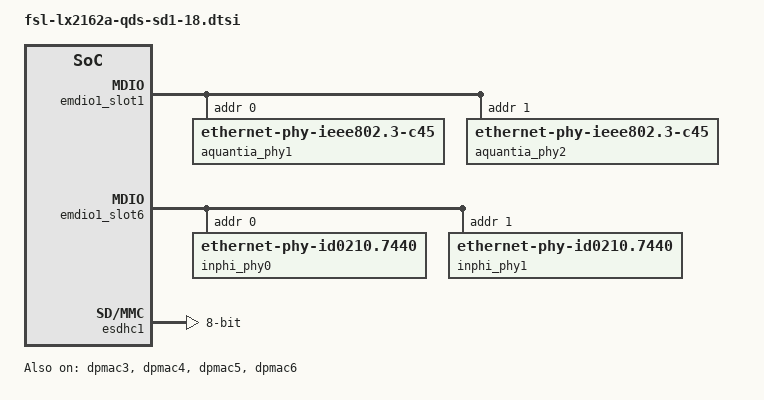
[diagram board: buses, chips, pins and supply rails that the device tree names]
// SPDX-License-Identifier: GPL-2.0+ OR X11
/*
 * NXP LX2162AQDS device tree source for the SERDES block #1 - protocol 18
 *
 * Some assumptions are made:
 *    * mezzanine card M11 is connected to IO SLOT1 (usxgmii for DPMAC 3,4)
 *    * mezzanine card M13/M8 is connected to IO SLOT6 (25g-aui for DPMAC 5,6)
 *
 * Copyright 2020-2021 NXP
 *
 */

#include "fsl-lx2160a-qds.dtsi"

&dpmac3 {
	status = "okay";
	phy-handle = <&aquantia_phy1>;
	phy-connection-type = "usxgmii";
};

&dpmac4 {
	status = "okay";
	phy-handle = <&aquantia_phy2>;
	phy-connection-type = "usxgmii";
};

&dpmac5 {
	status = "okay";
	phy-handle = <&inphi_phy0>;
	phy-connection-type = "25g-aui";
};

&dpmac6 {
	status = "okay";
	phy-handle = <&inphi_phy1>;
	phy-connection-type = "25g-aui";
};

&emdio1_slot1 {
	aquantia_phy1: ethernet-phy@4 {
		compatible = "ethernet-phy-ieee802.3-c45";
		reg = <0x0>;
	};

	aquantia_phy2: ethernet-phy@5 {
		compatible = "ethernet-phy-ieee802.3-c45";
		reg = <0x1>;
	};
};

&emdio1_slot6 {
	inphi_phy0: ethernet-phy@0 {
		compatible = "ethernet-phy-id0210.7440";
		reg = <0x0>;
	};

	inphi_phy1: ethernet-phy@1 {
		compatible = "ethernet-phy-id0210.7440";
		reg = <0x1>;
	};
};

&esdhc1 {
	mmc-hs200-1_8v;
	mmc-hs400-1_8v;
	bus-width = <8>;
};
